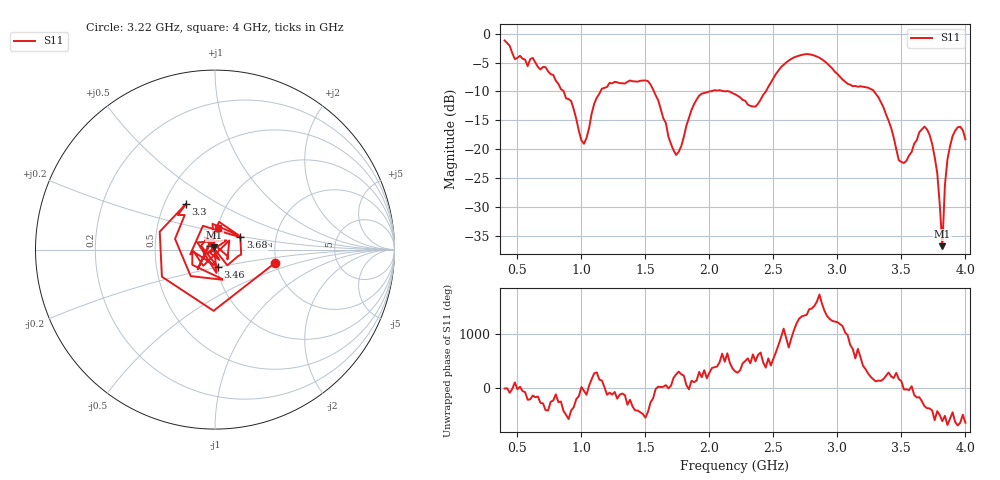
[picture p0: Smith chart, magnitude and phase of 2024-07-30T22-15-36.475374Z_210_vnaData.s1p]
!Created with skrf (http://scikit-rf.org).
# Hz S RI R 50.0
!freq ReS11 ImS11
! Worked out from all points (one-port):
!   181 points, 400 MHz to 4 GHz, reference 50 ohm
!   lowest |S11| = -36.8 dB at 3.82 GHz (marker M1), VSWR 1.03, Z = 49.5 + j1.35 ohm
!   |S11| at or under -10 dB: 1.567 GHz to 1.999 GHz (432.1 MHz wide, 24.2 % of centre); 2.154 GHz to 2.441 GHz (287.3 MHz wide, 12.5 % of centre); 3.287 GHz to end of sweep (the widest 3 of 4)
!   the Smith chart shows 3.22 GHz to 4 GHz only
!   S11 on the Smith chart (normalised r, x): 3.22 GHz: 1.98, -0.33; 3.3 GHz: 0.64, +0.36; 3.46 GHz: 1.01, -0.20; 3.68 GHz: 1.31, +0.18; 4 GHz: 1.01, +0.25
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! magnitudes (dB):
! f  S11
! 400 MHz  -1.2
! 480 MHz  -4.4
! 860 MHz  -9.9
! 1.02 GHz  -19.1
! 1.16 GHz  -9.5
! 1.3 GHz  -8.6
! 1.52 GHz  -8.2
! 1.72 GHz  -20.2
! 1.76 GHz  -20.5
! 1.92 GHz  -10.7
! 2.2 GHz  -10.5
! 2.36 GHz  -12.6
! 2.66 GHz  -4.1
! 2.86 GHz  -4.2
! 3.1 GHz  -8.8
! 3.22 GHz  -9.3
! 3.3 GHz  -10.4
! 3.46 GHz  -20.0
! 3.5 GHz  -22.2
! 3.56 GHz  -21.1
! 3.68 GHz  -16.1
! 3.74 GHz  -19.1
! 3.78 GHz  -24.1
! 3.82 GHz  -36.8
! 3.84 GHz  -26.2
! 3.88 GHz  -19.5
! 3.94 GHz  -16.2
! 4 GHz  -18.3
